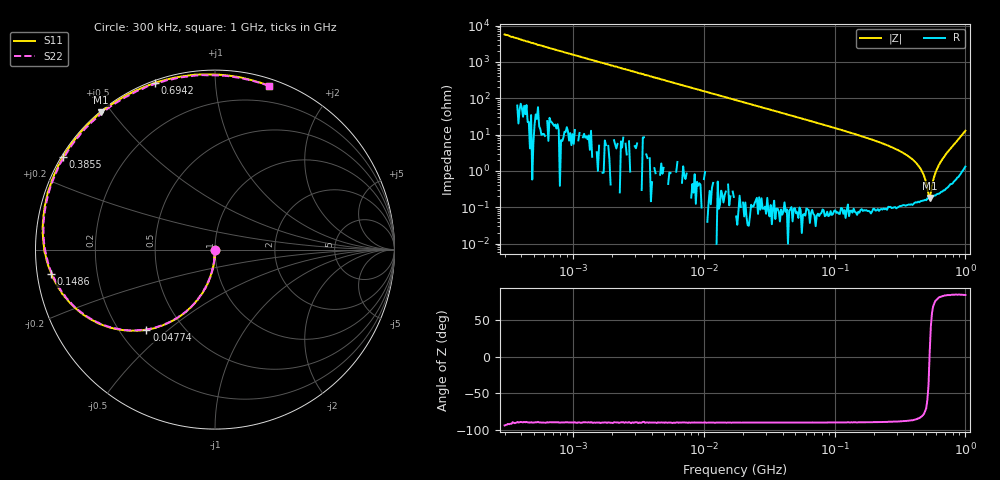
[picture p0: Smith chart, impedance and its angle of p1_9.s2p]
#  HZ  S  RI  R  50
! Rohde & Schwarz ZVA/B
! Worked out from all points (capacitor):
!   401 points, 300 kHz to 1 GHz, reference 50 ohm
!   read as one part in shunt: C = 96.7 pF near 312.4 kHz
!   lowest |Z| = 182 mohm at 533.3 MHz (marker M1)
!   series resonance near 532.1 MHz, so ESL is about 930 pH
!   S11 on the Smith chart (normalised r, x): 300 kHz: 1.00, -0.01; 47.74 MHz: 0.31, -0.42; 148.6 MHz: 0.04, -0.07; 385.5 MHz: 0.00, +0.28; 694.2 MHz: 0.01, +0.70; 1 GHz: 0.06, +1.38
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300000  0.000584 -0.00387  0.9999 -0.00494  1 -0.00544  0.000321 -0.00335
540169.4  -0.000161 -0.00789  0.9996 -0.00912  0.9999 -0.00922  -0.000339 -0.00783
1167356  -0.000128 -0.0176  0.9998 -0.0194  0.9999 -0.0201  -0.000898 -0.0176
4542403  -0.00489 -0.068  0.9957 -0.0755  0.9935 -0.0757  -0.00478 -0.0679
1.732051e7  -0.0698 -0.2423  0.9276 -0.2721  0.928 -0.2712  -0.0709 -0.2431
3.056062e7  -0.1951 -0.3714  0.8014 -0.4222  0.8006 -0.4232  -0.1987 -0.3709
4.774418e7  -0.382 -0.4454  0.6123 -0.5251  0.6135 -0.5251  -0.383 -0.4457
6.739735e7  -0.5682 -0.4384  0.4232 -0.5477  0.4223 -0.5478  -0.57 -0.4357
9.708952e7  -0.7594 -0.3421  0.2256 -0.4985  0.2252 -0.4991  -0.7597 -0.3384
1.486358e8  -0.912 -0.1349  0.0569 -0.3735  0.0579 -0.373  -0.9095 -0.1307
2.622557e8  -0.9504 0.2277  -0.0403 -0.182  -0.0409 -0.1825  -0.9443 0.237
3.855332e8  -0.8478 0.5149  -0.0388 -0.072  -0.0386 -0.0721  -0.8367 0.5218
4.266755e8  -0.7972 0.5938  -0.0294 -0.0473  -0.0297 -0.0474  -0.7848 0.5993
4.627288e8  -0.7457 0.6571  -0.0194 -0.0297  -0.0195 -0.0298  -0.7339 0.6616
4.917542e8  -0.7011 0.7043  -0.0101 -0.0177  -0.0102 -0.0181  -0.6899 0.707
5.121091e8  -0.6692 0.7349  -0.00327 -0.0109  -0.00307 -0.0109  -0.6571 0.737
5.333065e8  -0.6346 0.7644  0.00418 -0.00415  0.00399 -0.00425  -0.6215 0.7668
5.44232e8  -0.6154 0.7802  0.00798 -0.0015  0.00801 -0.00114  -0.6024 0.7812
6.0231e8  -0.5114 0.8486  0.0304 0.0104  0.0302 0.0108  -0.5001 0.8485
6.941774e8  -0.334 0.9297  0.0665 0.016  0.0665 0.0157  -0.3235 0.9266
8.331731e8  -0.0441 0.9755  0.1174 -0.00406  0.1171 -0.00428  -0.0379 0.9712
1e9  0.3 0.9134  0.1556 -0.063  0.1563 -0.0629  0.2996 0.9124
